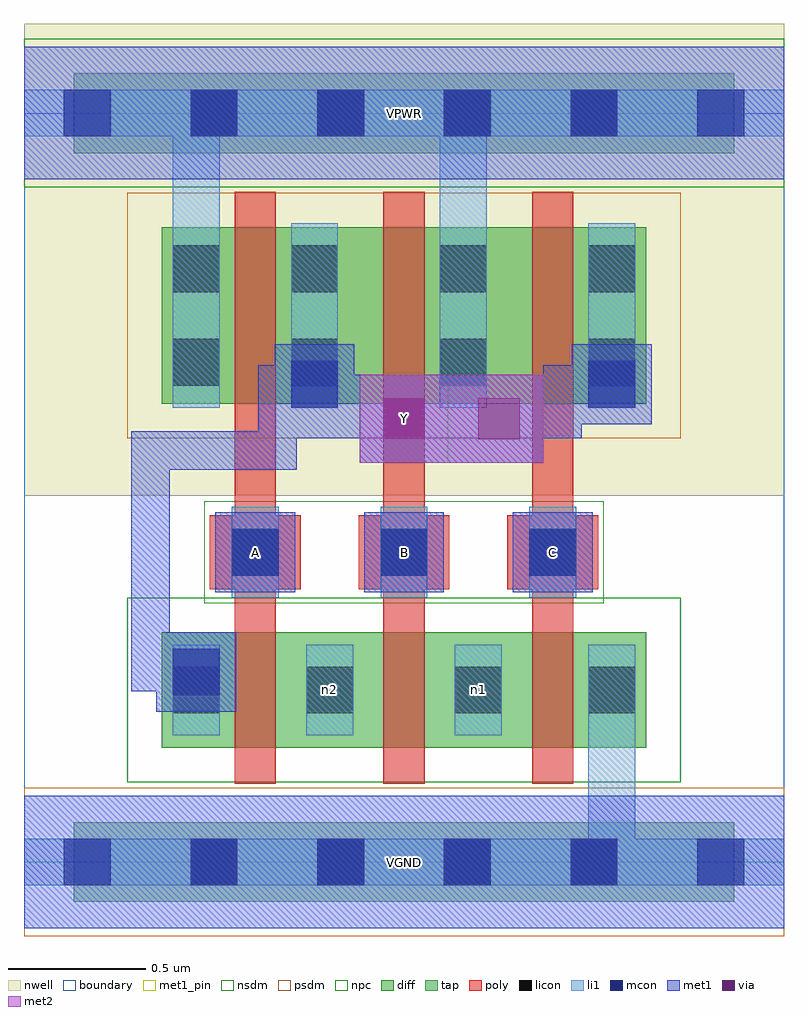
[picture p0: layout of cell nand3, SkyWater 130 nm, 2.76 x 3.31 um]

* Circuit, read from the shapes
.subckt nand3 A B C VGND VPWR Y n1 n2
XM1 n2 A Y VGND sky130_fd_pr__nfet_01v8 w=0.42 l=0.15
XM2 n1 B n2 VGND sky130_fd_pr__nfet_01v8 w=0.42 l=0.15
XM3 VGND C n1 VGND sky130_fd_pr__nfet_01v8 w=0.42 l=0.15
XM4 Y A VPWR VPWR sky130_fd_pr__pfet_01v8 w=0.64 l=0.15
XM5 VPWR B Y VPWR sky130_fd_pr__pfet_01v8 w=0.64 l=0.15
XM6 Y C VPWR VPWR sky130_fd_pr__pfet_01v8 w=0.64 l=0.15
.ends

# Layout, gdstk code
import gdstk
lib = gdstk.Library(unit=1e-6, precision=1e-09)
def R(c, l, rs):  # rectangles x0, y0, x1, y1
    for r in rs: c.add(gdstk.rectangle(r[:2], r[2:], *l))
def A(c, l, x, y, w, h, nx, ny, dx, dy):  # array of equal rectangles
    R(c, l, [(x+i*dx, y+j*dy, x+i*dx+w, y+j*dy+h) for i in range(nx) for j in range(ny)])
nwell = (64, 20)
diff = (65, 20)
tap = (65, 44)
poly = (66, 20)
licon = (66, 44)
li1 = (67, 20)
mcon = (67, 44)
met1_pin = (68, 16)
met1 = (68, 20)
via = (68, 44)
met2 = (69, 20)
nsdm = (93, 44)
psdm = (94, 20)
npc = (95, 20)
boundary = (235, 4)

nand3 = lib.new_cell('nand3')
R(nand3, nwell, [(0,1.33,2.76,3.045)])
R(nand3, diff, [(0.5,0.415,2.26,0.835), (0.5,1.665,2.26,2.305)])
R(nand3, tap, [(0.18,-0.145,2.58,0.145), (0.18,2.575,2.58,2.865)])
A(nand3, poly, 0.765, 0.285, 0.15, 2.15, 3, 1, 0.54, 0)
A(nand3, poly, 0.675, 0.99, 0.33, 0.27, 3, 1, 0.54, 0)
A(nand3, licon, 0.605, -0.085, 0.17, 0.17, 4, 2, 0.46, 2.72)
A(nand3, licon, 0.755, 1.04, 0.17, 0.17, 3, 1, 0.54, 0)
A(nand3, licon, 0.97, 1.73, 0.17, 0.17, 3, 2, 0.54, 0.34)
R(nand3, licon, [(0.54,0.54,0.71,0.71), (1.025,0.54,1.195,0.71), (1.565,0.54,1.735,0.71), (2.05,0.54,2.22,0.71), (0.54,1.73,0.71,1.9), (0.54,2.07,0.71,2.24)])
A(nand3, li1, 0.755, 0.96, 0.17, 0.33, 3, 1, 0.54, 0)
A(nand3, li1, 0.97, 1.65, 0.17, 0.67, 3, 1, 0.54, 0)
R(nand3, li1, [(0,-0.085,2.76,0.085), (2.05,-0.085,2.22,0.79), (0.54,0.46,0.71,0.79), (1.025,0.46,1.195,0.79), (1.565,0.46,1.735,0.79), (2.05,0.46,2.22,0.79), (0.54,1.65,0.71,2.32), (0.54,1.65,0.71,2.805), (1.51,1.65,1.68,2.805), (0,2.635,2.76,2.805)])
A(nand3, mcon, 0.145, -0.085, 0.17, 0.17, 6, 2, 0.46, 2.72)
A(nand3, mcon, 0.755, 1.04, 0.17, 0.17, 3, 1, 0.54, 0)
R(nand3, mcon, [(0.54,0.605,0.71,0.775), (0.97,1.65,1.14,1.82), (2.05,1.65,2.22,1.82)])
A(nand3, met1_pin, 0.695, 0.98, 0.29, 0.29, 3, 1, 0.54, 0)
R(nand3, met1_pin, [(0,-0.24,2.76,0.24), (1.22,1.45,1.54,1.77), (0,2.48,2.76,2.96)])
A(nand3, met1, 0.695, 0.98, 0.29, 0.29, 3, 1, 0.54, 0)
R(nand3, met1, [(0,-0.24,2.76,0.24), (0.48,0.545,0.77,0.835), (0.39,0.62,0.695,0.76), (0.39,0.62,0.53,1.565), (0.39,1.425,0.99,1.565), (0.85,1.425,0.99,1.68), (1.22,1.45,1.54,1.77), (1.54,1.45,1.565,1.77), (1.565,1.45,1.885,1.77), (0.85,1.54,0.99,1.805), (0.85,1.54,1.45,1.68), (1.45,1.54,1.565,1.68), (1.54,1.54,1.655,1.68), (1.655,1.54,2.025,1.68), (1.885,1.54,2.025,1.805), (0.91,1.59,1.2,1.88), (1.2,1.59,1.22,1.77), (1.99,1.59,2.28,1.88), (0.85,1.665,1.125,1.805), (1.125,1.665,1.22,1.77), (1.885,1.665,2.205,1.805), (0,2.48,2.76,2.96)])
R(nand3, via, [(1.305,1.535,1.455,1.685), (1.65,1.535,1.8,1.685)])
R(nand3, met2, [(1.22,1.45,1.54,1.77), (1.54,1.45,1.565,1.77), (1.565,1.45,1.885,1.77), (1.31,1.54,1.795,1.68)])
R(nand3, nsdm, [(0.375,0.29,2.385,0.96), (0,2.45,2.76,2.99)])
R(nand3, psdm, [(0,-0.27,2.76,0.27), (0.375,1.54,2.385,2.43)])
R(nand3, npc, [(0.655,0.94,2.105,1.31)])
R(nand3, boundary, [(0,0,2.76,2.72)])
nand3.add(gdstk.Label('n2', (1.11,0.625), layer=67, texttype=5))
nand3.add(gdstk.Label('n1', (1.65,0.625), layer=67, texttype=5))
nand3.add(gdstk.Label('Y', (1.38,1.61), layer=68, texttype=5))
nand3.add(gdstk.Label('A', (0.84,1.125), layer=68, texttype=5))
nand3.add(gdstk.Label('B', (1.38,1.125), layer=68, texttype=5))
nand3.add(gdstk.Label('C', (1.92,1.125), layer=68, texttype=5))
nand3.add(gdstk.Label('VPWR', (1.38,2.72), layer=68, texttype=5))
nand3.add(gdstk.Label('VGND', (1.38,0), layer=68, texttype=5))
nand3.add(gdstk.Label('Y', (1.38,1.61), layer=68, texttype=16))
nand3.add(gdstk.Label('A', (0.84,1.125), layer=68, texttype=16))
nand3.add(gdstk.Label('B', (1.38,1.125), layer=68, texttype=16))
nand3.add(gdstk.Label('C', (1.92,1.125), layer=68, texttype=16))
nand3.add(gdstk.Label('VPWR', (1.38,2.72), layer=68, texttype=16))
nand3.add(gdstk.Label('VGND', (1.38,0), layer=68, texttype=16))

lib.write_gds('nand3.gds')
